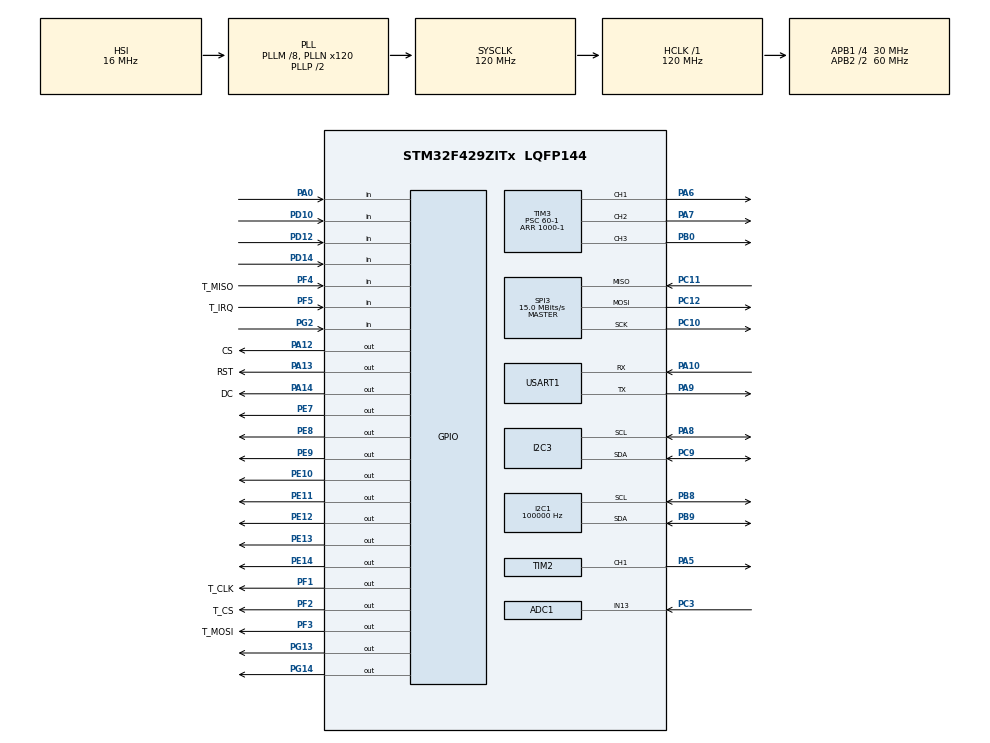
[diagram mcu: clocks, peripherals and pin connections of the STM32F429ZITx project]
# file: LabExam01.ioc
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ADC1.Channel-0\#ChannelRegularConversion=ADC_CHANNEL_13
ADC1.ContinuousConvMode=ENABLE
ADC1.EOCSelection=ADC_EOC_SEQ_CONV
ADC1.NbrOfConversionFlag=1
ADC1.Rank-0\#ChannelRegularConversion=1
ADC1.SamplingTime-0\#ChannelRegularConversion=ADC_SAMPLETIME_3CYCLES
ADC1.master=1
I2C1.ClockSpeed=100000
Mcu.Family=STM32F4
Mcu.Name=STM32F429ZITx
Mcu.Package=LQFP144
NVIC.PriorityGroup=NVIC_PRIORITYGROUP_4
PA0/WKUP.Signal=GPIO_Input
PA10.Mode=Asynchronous
PA10.Signal=USART1_RX
PA12.GPIO_Label=CS
PA12.GPIO_Speed=GPIO_SPEED_FREQ_VERY_HIGH
PA12.Signal=GPIO_Output
PA13.GPIO_Label=RST
PA13.GPIO_Speed=GPIO_SPEED_FREQ_VERY_HIGH
PA13.Signal=GPIO_Output
PA14.GPIO_Label=DC
PA14.GPIO_Speed=GPIO_SPEED_FREQ_VERY_HIGH
PA14.Signal=GPIO_Output
PA5.Signal=S_TIM2_CH1_ETR
PA6.Signal=S_TIM3_CH1
PA7.Signal=S_TIM3_CH2
PA8.Mode=I2C
PA8.Signal=I2C3_SCL
PA9.Mode=Asynchronous
PA9.Signal=USART1_TX
PB0.Signal=S_TIM3_CH3
PB8.Mode=I2C
PB8.Signal=I2C1_SCL
PB9.Mode=I2C
PB9.Signal=I2C1_SDA
PC10.Mode=Full_Duplex_Master
PC10.Signal=SPI3_SCK
PC11.Mode=Full_Duplex_Master
PC11.Signal=SPI3_MISO
PC12.Mode=Full_Duplex_Master
PC12.Signal=SPI3_MOSI
PC3.Signal=ADCx_IN13
PC9.Mode=I2C
PC9.Signal=I2C3_SDA
PD10.Signal=GPIO_Input
PD12.Signal=GPIO_Input
PD14.Signal=GPIO_Input
PE10.Signal=GPIO_Output
PE11.Signal=GPIO_Output
PE12.Signal=GPIO_Output
PE13.Signal=GPIO_Output
PE14.Signal=GPIO_Output
PE7.Signal=GPIO_Output
PE8.Signal=GPIO_Output
PE9.Signal=GPIO_Output
PF1.GPIO_Label=T_CLK
PF1.GPIO_Speed=GPIO_SPEED_FREQ_VERY_HIGH
PF1.Signal=GPIO_Output
PF2.GPIO_Label=T_CS
PF2.GPIO_Speed=GPIO_SPEED_FREQ_VERY_HIGH
PF2.Signal=GPIO_Output
PF3.GPIO_Label=T_MOSI
PF3.GPIO_Speed=GPIO_SPEED_FREQ_VERY_HIGH
PF3.Signal=GPIO_Output
PF4.GPIO_Label=T_MISO
PF4.Signal=GPIO_Input
PF5.GPIO_Label=T_IRQ
PF5.Signal=GPIO_Input
PG13.Signal=GPIO_Output
PG14.Signal=GPIO_Output
PG2.Signal=GPIO_Input
ProjectManager.HeapSize=0x200
ProjectManager.StackSize=0x400
ProjectManager.TargetToolchain=STM32CubeIDE
RCC.48MHZClocksFreq_Value=48000000
RCC.AHBFreq_Value=120000000
RCC.APB1CLKDivider=RCC_HCLK_DIV4
RCC.APB1Freq_Value=30000000
RCC.APB1TimFreq_Value=60000000
RCC.APB2CLKDivider=RCC_HCLK_DIV2
RCC.APB2Freq_Value=60000000
RCC.APB2TimFreq_Value=120000000
RCC.CortexFreq_Value=120000000
RCC.HCLKFreq_Value=120000000
RCC.HSE_VALUE=25000000
RCC.HSI_VALUE=16000000
RCC.LSE_VALUE=32768
RCC.PLLM=8
RCC.PLLN=120
RCC.PLLQ=5
RCC.SYSCLKFreq_VALUE=120000000
RCC.SYSCLKSource=RCC_SYSCLKSOURCE_PLLCLK
RCC.VCOOutputFreq_Value=240000000
SH.ADCx_IN13.0=ADC1_IN13,IN13
SH.S_TIM2_CH1_ETR.0=TIM2_CH1,PWM Generation1 CH1
SH.S_TIM3_CH1.0=TIM3_CH1,PWM Generation1 CH1
SH.S_TIM3_CH2.0=TIM3_CH2,PWM Generation2 CH2
SH.S_TIM3_CH3.0=TIM3_CH3,PWM Generation3 CH3
SPI3.CalculateBaudRate=15.0 MBits/s
SPI3.Direction=SPI_DIRECTION_2LINES
SPI3.Mode=SPI_MODE_MASTER
SPI3.VirtualType=VM_MASTER
TIM1.ClockDivision=TIM_CLOCKDIVISION_DIV2
TIM1.Period=12-1
TIM1.Prescaler=10000-1
TIM2.Channel-PWM\ Generation1\ CH1=TIM_CHANNEL_1
TIM2.Period=1000-1
TIM2.Prescaler=60-1
TIM2.Pulse-PWM\ Generation1\ CH1=1000-1
TIM3.Channel-PWM\ Generation1\ CH1=TIM_CHANNEL_1
TIM3.Channel-PWM\ Generation2\ CH2=TIM_CHANNEL_2
TIM3.Channel-PWM\ Generation3\ CH3=TIM_CHANNEL_3
TIM3.Period=1000-1
TIM3.Prescaler=60-1
TIM3.Pulse-PWM\ Generation1\ CH1=1000-1
TIM3.Pulse-PWM\ Generation2\ CH2=1000-1
TIM3.Pulse-PWM\ Generation3\ CH3=1000-1
USART1.VirtualMode=VM_ASYNC
VP_RNG_VS_RNG.Mode=RNG_Activate
VP_TIM1_VS_ClockSourceINT.Mode=Internal
VP_TIM3_VS_ClockSourceINT.Mode=Internal
board=custom

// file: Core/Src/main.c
/* USER CODE BEGIN Header */
/**
  ******************************************************************************
  * @file           : main.c
  * @brief          : Main program body
  ******************************************************************************
  * @attention
  *
  * <h2><center>&copy; Copyright (c) 2021 STMicroelectronics.
  * All rights reserved.</center></h2>
  *
  * This software component is licensed by ST under BSD 3-Clause license,
  * the "License"; You may not use this file except in compliance with the
  * License. You may obtain a copy of the License at:
  *                        opensource.org/licenses/BSD-3-Clause
  *
  ******************************************************************************
  */
/* USER CODE END Header */
#include "main.h"
#include "adc.h"
#include "i2c.h"
#include "rng.h"
#include "spi.h"
#include "tim.h"
#include "usart.h"
#include "gpio.h"

/* USER CODE BEGIN Includes */
#include "stdio.h"
#include "ILI9341_Touchscreen.h"

#include "ILI9341_STM32_Driver.h"
#include "ILI9341_GFX.h"

#include "snow_tiger.h"
#include "pop.h"
#include "string.h"

#include "stdbool.h"
/* USER CODE END Includes */

void SystemClock_Config(void);

/* USER CODE BEGIN 0 */
uint32_t color = 0x0000;
uint32_t value1 = 0x0000;
uint32_t value2 = 0x0000;
uint32_t value3 = 0x0000;

I2C_HandleTypeDef hi2c1; // not use
I2C_HandleTypeDef hi2c3; // not use

bool pressButton1 = false;
bool pressButton2 = false;
bool pressButton3 = false;
bool pressButton4 = false;

bool isPressButton1 = false;
bool isPressButton2 = false;
bool isPressButton3 = false;
bool isPressButton4 = false;

bool changeState = false;

float prevDuty = 0;

uint8_t mode = 0; // not use
uint8_t num = 0;

uint32_t now = 0;		//may use
uint32_t prenow = 0;	//may use
uint32_t sec = 0;		//may use
uint32_t counting = 3001;

float dutyCycleScreen = 0.0;

float dutyCycleR = 0.0;
float dutyCycleG = 0.0;
float dutyCycleB = 0.0;

char Temp_Buffer_text[50];

//ADC

volatile uint32_t adc_val = 0;

void displayHEX(uint32_t value){

	char hexString[100];

	sprintf(hexString,"ADC1_CH13 0x%08X Vin = %.2f V RawValue = %d\r\n", value, (float)value*3.3/4096.0, value);
	HAL_UART_Transmit(&huart1, (uint8_t*) hexString, strlen(hexString), 100);
	HAL_Delay(50);

}

/* USER CODE END 0 */

int main(void)
{

  /* MCU Configuration--------------------------------------------------------*/

  /* Reset of all peripherals, Initializes the Flash interface and the Systick. */
  HAL_Init();

  /* Configure the system clock */
  SystemClock_Config();

  /* Initialize all configured peripherals */
  MX_TIM1_Init();
  MX_GPIO_Init();
  MX_RNG_Init();
  MX_SPI3_Init();
  MX_USART1_UART_Init();
  MX_I2C1_Init();
  MX_ADC1_Init();
  MX_TIM2_Init();
  MX_I2C3_Init();
  MX_TIM3_Init();
  /* USER CODE BEGIN 2 */
  ILI9341_Init();//initial driver setup to drive ili9341

  HAL_ADC_Start(&hadc1);

  GPIOE -> BSRR = 0x00007F80 << num;	// off all

  void ADC_PWM(){

  		//ADC
  		  while(HAL_ADC_PollForConversion(&hadc1, 100) != HAL_OK){} // skip
  		  adc_val = HAL_ADC_GetValue(&hadc1); // get value of adc
  		  //displayHEX(adc_val);

	    //PWM
  		  dutyCycleScreen = ((adc_val/4095.0) * 0.55) + 0.25; // for 25% - 80%  // 0.8 is interval
  		  //No. 2
  		  htim2.Instance -> CCR1 = (100-1) * dutyCycleScreen;

  		 float displayNum = 0;

  		if(dutyCycleScreen >= 0.25 && dutyCycleScreen < 0.30){
  			displayNum = 0.25;
  		}else if(dutyCycleScreen >= 0.30 && dutyCycleScreen < 0.35){
  			displayNum = 0.30;
  		}else if(dutyCycleScreen >= 0.35 && dutyCycleScreen < 0.40){
  			displayNum = 0.35;
  		}else if(dutyCycleScreen >= 0.40 && dutyCycleScreen < 0.45){
  			displayNum = 0.40;
 		}else if(dutyCycleScreen >= 0.45 && dutyCycleScreen < 0.50){
 			displayNum = 0.45;
 		}else if(dutyCycleScreen >= 0.50 && dutyCycleScreen < 0.55){
 			displayNum = 0.50;
 		}else if(dutyCycleScreen >= 0.55 && dutyCycleScreen < 0.60){
 			displayNum = 0.55;
 		}else if(dutyCycleScreen >= 0.60 && dutyCycleScreen < 0.65){
 			displayNum = 0.60;
 		}else if(dutyCycleScreen >= 0.65 && dutyCycleScreen < 0.68){
 			displayNum = 0.65;
 		}else if(dutyCycleScreen >= 0.68 && dutyCycleScreen < 0.75){
 			displayNum = 0.70;
 		}else if(dutyCycleScreen >= 0.75 && dutyCycleScreen < 0.79){
 			displayNum = 0.75;
 		}else if(dutyCycleScreen >= 0.79){
 			displayNum = 0.80;
 		}

  		if(prevDuty != displayNum){
  			changeState = true;
  			prevDuty = displayNum;
  		}

  		sprintf(Temp_Buffer_text, "%d", (uint8_t) (displayNum*100));
  		ILI9341_Set_Rotation(SCREEN_HORIZONTAL_1);
  		  if(displayNum >= 0.20 && displayNum <= 0.50){
  			  if(changeState == true){
  	  			ILI9341_Draw_Filled_Rectangle_Coord(0, 0, 320, 240, GREEN);
  	  			ILI9341_Draw_Text(Temp_Buffer_text, 320/2-20, 240/2-20, YELLOW, 2, GREEN);
  	  			changeState = false;
  			  }

  		  }else if(displayNum >= 0.55 && displayNum < 0.70){
  			  if(changeState == true){
  	  			ILI9341_Draw_Filled_Rectangle_Coord(0, 0, 320, 240, YELLOW);
  	  			ILI9341_Draw_Text(Temp_Buffer_text,  320/2-20, 240/2-20, BLUE, 2, YELLOW);
  				changeState = false;
  			  }

  		  }else if(displayNum >= 0.75 && displayNum <= 0.90){
  			ILI9341_Draw_Filled_Rectangle_Coord(0, 0, 320, 240, RED);
  			if(sec % 2 == 0){
  				sprintf(Temp_Buffer_text, "%d", (uint8_t) (displayNum*100));
  				ILI9341_Draw_Text(Temp_Buffer_text,  320/2-20, 240/2-20, CYAN, 2, RED);
  			}else{
  				sprintf(Temp_Buffer_text, "  ", (uint8_t) (displayNum*100));
  	  			ILI9341_Draw_Text(Temp_Buffer_text,  320/2-20, 240/2-20, CYAN, 2, RED);
  			}
  		  }

  		  HAL_TIM_PWM_Start(&htim3, TIM_CHANNEL_1);

  		  HAL_TIM_PWM_Start(&htim2, TIM_CHANNEL_1);
  		  htim3.Instance -> CCR1 = (1000-1) * dutyCycleScreen;

  		  /*
  		     float dutyCycleB = 0.0;

  		   	 htim2.Instance -> CCR1 = (100-1) * dutyCycleB;
	  	  	 HAL_TIM_PWM_Start(&htim2, TIM_CHANNEL_1);
  			 HAL_Delay(1000);
  		  	 // HAL_TIM_PWM_Stop(&htim2, TIM_CHANNEL_1);

  		   */
  	}

  void readButton(){
	pressButton1 = !HAL_GPIO_ReadPin(GPIOD, GPIO_PIN_10); // pressButton1 is "true" when press, is "false" when not press
	pressButton2 = !HAL_GPIO_ReadPin(GPIOD, GPIO_PIN_12); // pressButton1 is "true" when press, is "false" when not press
	pressButton3 = !HAL_GPIO_ReadPin(GPIOD, GPIO_PIN_14); // pressButton1 is "true" when press, is "false" when not press
	pressButton4 = !HAL_GPIO_ReadPin(GPIOG, GPIO_PIN_2); // pressButton1 is "true" when press, is "false" when not press

//	char hexString[100];
//	sprintf(hexString,"%d %d %d %d\r\n",pressButton1, pressButton2, pressButton3, pressButton4);
//	HAL_UART_Transmit(&huart1, (uint8_t*) hexString, strlen(hexString), 100);

  }

  void ledPack(){

		// on when 0 (RESET)
		// off when 1 (SET)
		uint8_t on = 0;
		uint8_t off = 1;

		//Basic WritePin
	//	HAL_GPIO_WritePin(GPIOE, GPIO_PIN_7, off);
	//	HAL_GPIO_WritePin(GPIOE, GPIO_PIN_8, off);
	//	HAL_GPIO_WritePin(GPIOE, GPIO_PIN_9, off);
	//	HAL_GPIO_WritePin(GPIOE, GPIO_PIN_10, off);
	//	HAL_GPIO_WritePin(GPIOE, GPIO_PIN_11, off);
	//	HAL_GPIO_WritePin(GPIOE, GPIO_PIN_12, off);
	//	HAL_GPIO_WritePin(GPIOE, GPIO_PIN_13, off);
	//	HAL_GPIO_WritePin(GPIOE, GPIO_PIN_14, off);

//		HAL_GPIO_TogglePin(GPIOE, GPIO_PIN_7)

					    //RESET SET
//		GPIOE -> BSRR = 0x00000080 << num;	// off
//		GPIOE -> BSRR = 0x00400000 << num;	// on
//		HAL_Delay(500);
//		num++;
//		if(num == 9){ // on follow off 9 times
//			num = 0;
//		}

		//Step 1
//		GPIOE -> BSRR = 0x78000000 << num;	// on
//		HAL_Delay(500);
//		GPIOE -> BSRR = 0x00007F80 << num;	// off
//		HAL_Delay(500);
//
//		//Step 2
//		GPIOE -> BSRR = 0x07800000 << num;	// on
//		HAL_Delay(500);
//		GPIOE -> BSRR = 0x00007F80 << num;	// off
//		HAL_Delay(500);
//
//		//Step 3
//		GPIOE -> BSRR = 0x60000000 << num;	// on
//		HAL_Delay(500);
//		GPIOE -> BSRR = 0x00007F80 << num;	// off
//		HAL_Delay(500);
//
//		//Step 4
//		GPIOE -> BSRR = 0x01800000 << num;	// on
//		HAL_Delay(500);
//		GPIOE -> BSRR = 0x00007F80 << num;	// off
//		HAL_Delay(500);

		/*

		//Light Off		//RESET SET
		GPIOC -> BSRR = (0x00000700);
		HAL_Delay(500);

		//Light On
		GPIOC -> BSRR = (0x04000000 >> n);
		HAL_Delay(500);

		 */
  }

  /* USER CODE END 2 */

  /* Infinite loop */
  while (1)
  {

    /* USER CODE BEGIN 3 */

//		 update or read value
		ADC_PWM();

	}
  /* USER CODE END 3 */
}

void SystemClock_Config(void)
{
  RCC_OscInitTypeDef RCC_OscInitStruct = {0};
  RCC_ClkInitTypeDef RCC_ClkInitStruct = {0};

  /** Configure the main internal regulator output voltage
  */
  __HAL_RCC_PWR_CLK_ENABLE();
  __HAL_PWR_VOLTAGESCALING_CONFIG(PWR_REGULATOR_VOLTAGE_SCALE3);

  /** Initializes the RCC Oscillators according to the specified parameters
  * in the RCC_OscInitTypeDef structure.
  */
  RCC_OscInitStruct.OscillatorType = RCC_OSCILLATORTYPE_HSI;
  RCC_OscInitStruct.HSIState = RCC_HSI_ON;
  RCC_OscInitStruct.HSICalibrationValue = RCC_HSICALIBRATION_DEFAULT;
  RCC_OscInitStruct.PLL.PLLState = RCC_PLL_ON;
  RCC_OscInitStruct.PLL.PLLSource = RCC_PLLSOURCE_HSI;
  RCC_OscInitStruct.PLL.PLLM = 8;
  RCC_OscInitStruct.PLL.PLLN = 120;
  RCC_OscInitStruct.PLL.PLLP = RCC_PLLP_DIV2;
  RCC_OscInitStruct.PLL.PLLQ = 5;
  if (HAL_RCC_OscConfig(&RCC_OscInitStruct) != HAL_OK)
  {
    Error_Handler();
  }

  /** Initializes the CPU, AHB and APB buses clocks
  */
  RCC_ClkInitStruct.ClockType = RCC_CLOCKTYPE_HCLK|RCC_CLOCKTYPE_SYSCLK
                              |RCC_CLOCKTYPE_PCLK1|RCC_CLOCKTYPE_PCLK2;
  RCC_ClkInitStruct.SYSCLKSource = RCC_SYSCLKSOURCE_PLLCLK;
  RCC_ClkInitStruct.AHBCLKDivider = RCC_SYSCLK_DIV1;
  RCC_ClkInitStruct.APB1CLKDivider = RCC_HCLK_DIV4;
  RCC_ClkInitStruct.APB2CLKDivider = RCC_HCLK_DIV2;

  if (HAL_RCC_ClockConfig(&RCC_ClkInitStruct, FLASH_LATENCY_3) != HAL_OK)
  {
    Error_Handler();
  }
}

void Error_Handler(void)
{
  __disable_irq();
  while (1)
  {
  }
}
